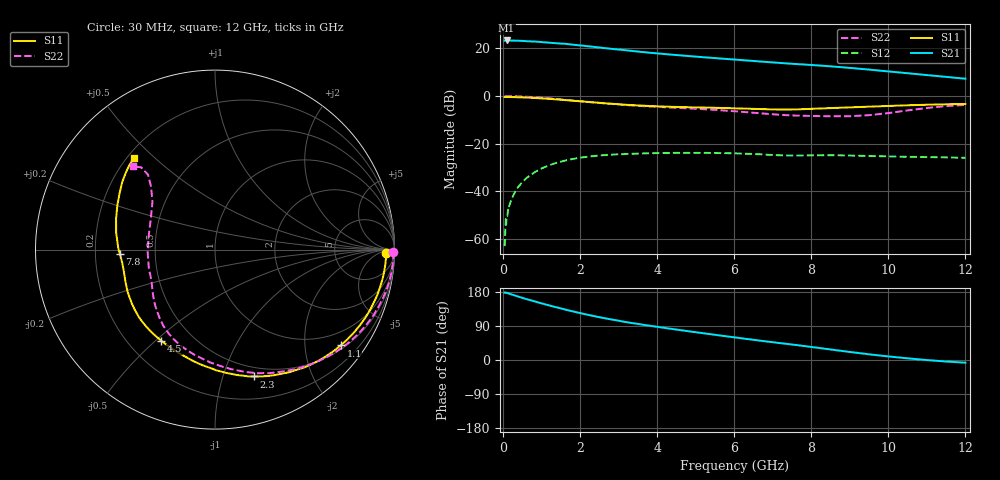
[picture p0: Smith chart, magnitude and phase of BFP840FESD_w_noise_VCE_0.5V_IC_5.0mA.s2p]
! Infineon Technologies  Discrete & RF Semiconductors
! BFP840FESD
! VCE =  0.5 V,  IC =  5.0 mA
! Common Emitter S-Parameters:  May 2012
# GHz  S  MA  R  50
!  f  S11  S21  S12  S22
! GHz  MAG  ANG  MAG  ANG  MAG  ANG  MAG  ANG
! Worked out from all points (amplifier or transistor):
!   103 points, 30 MHz to 12 GHz, reference 50 ohm
!   highest |S21| = 23.4 dB at 80 MHz (marker M1)
!   |S21| within 3 dB of that: start of sweep to 2.513 GHz
!   unconditionally stable (mu >= 1): 7.139 GHz to end of sweep
!   at 400 MHz: K = 0.03, MSG = 30.6 dB, |S12| = -37.9 dB
!   at 3.7 GHz: K = 0.37, MSG = 21.2 dB, |S12| = -24.1 dB
!   at 12 GHz: K = 1.39, MAG = 12.9 dB, |S12| = -26.0 dB
!   lowest NFmin = 0.55 dB at 450 MHz
!   S11 on the Smith chart (normalised r, x): 30 MHz: 36, -15; 1.1 GHz: 0.60, -2.85; 2.3 GHz: 0.41, -1.27; 4.5 GHz: 0.34, -0.52; 7.8 GHz: 0.31, -0.02; 12 GHz: 0.23, +0.43
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0.03  0.9541 -1.1  14.54 177.5  0.0007 79.3  0.9916 -0.8
0.04  0.9534 -1.4  14.57 177.3  0.0009 100.9  0.9925 -1.1
0.05  0.9532 -1.8  14.66 178.4  0.0016 88.5  0.9943 -1.4
0.08  0.9535 -2.9  14.72 177.4  0.0026 97.0  0.9939 -2.4
0.35  0.944 -12.3  14.56 168.4  0.0113 80.5  0.9854 -11.3
0.6  0.9278 -20.9  14.21 160.6  0.019 75.3  0.9655 -19.2
0.8  0.9109 -27.6  14.01 154.9  0.0247 70.2  0.9456 -25.4
1.1  0.8808 -37.3  13.38 146.5  0.0328 63.1  0.9082 -34.7
1.6  0.822 -53.2  12.55 133.2  0.044 52.1  0.8357 -49.5
2.1  0.763 -67.4  11.34 121.3  0.052 42.2  0.7647 -63.4
2.3  0.7399 -72.8  10.89 117.0  0.0543 38.6  0.7388 -68.6
2.6  0.7093 -80.1  10.22 110.8  0.0571 33.9  0.7042 -75.7
3.1  0.6612 -91.9  9.305 101.6  0.0602 27.3  0.6541 -86.2
4.1  0.6038 -112.5  7.738 86.0  0.0634 17.4  0.5868 -103.9
4.5  0.5896 -120.5  7.256 80.2  0.0639 14.2  0.5661 -110.1
5.2  0.5731 -133.3  6.532 70.5  0.0639 9.0  0.5286 -120.1
6.1  0.5483 -148.9  5.766 58.4  0.0621 3.3  0.4722 -133.2
7.8  0.5305 -177.4  4.598 37.0  0.0564 1.6  0.3852 -161.5
8.5  0.558 170.6  4.207 27.7  0.057 0.5  0.3754 -178.0
9.5  0.5983 155.3  3.593 15.0  0.055 -1.2  0.3964 154.5
10.5  0.6392 144.0  3.014 4.4  0.0529 -0.4  0.4989 135.5
12  0.6804 131.7  2.309 -7.1  0.0504 3.7  0.6504 134.5
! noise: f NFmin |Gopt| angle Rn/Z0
0.45  0.55  0.51  6  0.17
0.9  0.59  0.49  12  0.18
1.5  0.61  0.45  18  0.17
1.9  0.63  0.41  27  0.17
2.4  0.65  0.39  34  0.18
3.5  0.66  0.38  54  0.17
5.5  0.75  0.26  92  0.12
8  0.92  0.22  150  0.11
10  1.08  0.26  -154  0.11
12  1.29  0.43  -126  0.13
